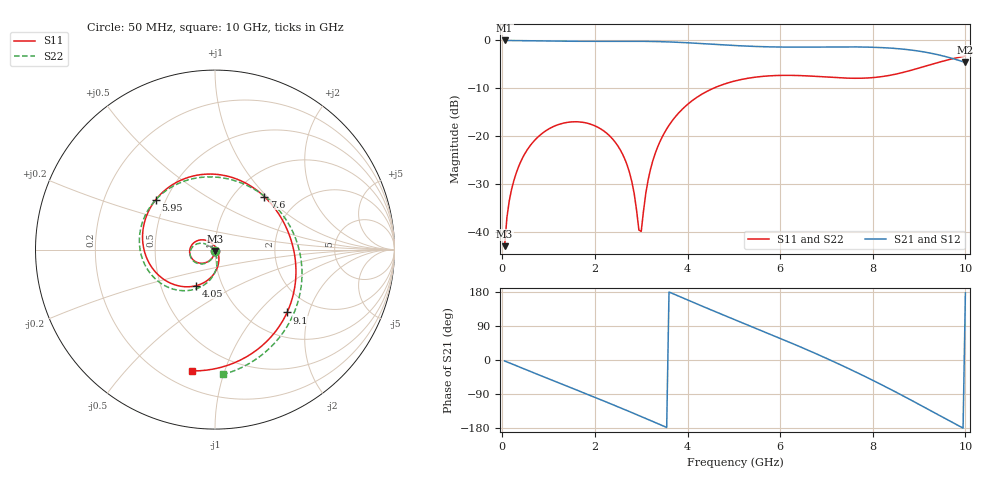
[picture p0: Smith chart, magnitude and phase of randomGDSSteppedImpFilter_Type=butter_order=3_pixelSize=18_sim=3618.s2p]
! freq	dB(S11)	phase(S11)	dB(S12)	phase(S12)
!  dB(S21)	phase(S21)	dB(S22)	phase(S22)
!S-par simulation data
#  GHz  S  DB  R 50
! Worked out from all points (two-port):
!   200 points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, 50 MHz to 10 GHz, reference 50 ohm
!   highest |S21| = 0.00 dB at 50 MHz (marker M1); lowest = -4.6 dB at 10 GHz (marker M2)
!   |S21| within 3 dB of the highest: start of sweep to 9.419 GHz
!   lowest |S11| = -42.9 dB at 50 MHz (marker M3), VSWR 1.01, Z = 50 - j0.717 ohm
!   |S11| at or under -10 dB: start of sweep to 4.552 GHz
!   |S22| runs from -42.9 to -3.1 dB; largest |S21 - S12| = 0
!   S11 on the Smith chart (normalised r, x): 50 MHz: 1.00, -0.01; 4.05 GHz: 0.75, -0.32; 5.95 GHz: 0.44, +0.30; 7.6 GHz: 1.37, +0.96; 9.1 GHz: 1.49, -1.46; 10 GHz: 0.30, -0.78
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0.05  -42.88 -91.8  -0.00 -2.5  -0.00 -2.5  -42.88 -91.7
0.1  -36.90 -94.3  -0.01 -5.0  -0.01 -5.0  -36.90 -94.0
0.2  -31.06 -99.5  -0.02 -10.0  -0.02 -10.0  -31.05 -98.9
0.55  -22.63 -118.9  -0.06 -27.4  -0.06 -27.4  -22.63 -117.0
1.15  -17.76 -149.8  -0.14 -57.0  -0.14 -57.0  -17.76 -145.7
1.75  -17.08 179.2  -0.18 -86.3  -0.18 -86.3  -17.09 -173.7
2.25  -19.30 152.3  -0.18 -111.0  -0.18 -111.0  -19.33 163.8
2.6  -23.76 130.7  -0.17 -128.7  -0.17 -128.7  -23.82 150.0
2.8  -29.54 112.4  -0.17 -138.9  -0.17 -138.9  -29.69 147.9
2.95  -39.53 58.2  -0.18 -146.6  -0.18 -146.6  -39.98 -171.0
3  -39.80 2.1  -0.18 -149.2  -0.18 -149.2  -39.81 -118.3
3.2  -26.87 -61.8  -0.21 -159.6  -0.21 -159.6  -26.75 -78.3
3.4  -21.19 -78.3  -0.25 -170.1  -0.25 -170.1  -21.11 -83.1
4.05  -12.93 -117.3  -0.51 155.9  -0.51 155.9  -12.89 -112.0
5.05  -8.38 -171.7  -1.08 104.8  -1.08 104.8  -8.35 -159.1
5.95  -7.30 140.2  -1.37 59.7  -1.37 59.7  -7.29 159.0
6.7  -7.45 98.6  -1.38 20.7  -1.38 20.7  -7.47 122.5
7.6  -7.89 47.1  -1.35 -29.7  -1.35 -29.7  -7.97 72.9
8.35  -7.30 4.1  -1.58 -75.3  -1.58 -75.3  -7.39 24.8
9.1  -5.47 -41.1  -2.39 -123.8  -2.39 -123.8  -5.48 -26.9
9.55  -4.24 -70.5  -3.31 -153.6  -3.31 -153.6  -4.19 -57.3
10  -3.24 -100.9  -4.59 177.1  -4.59 177.1  -3.13 -86.2
